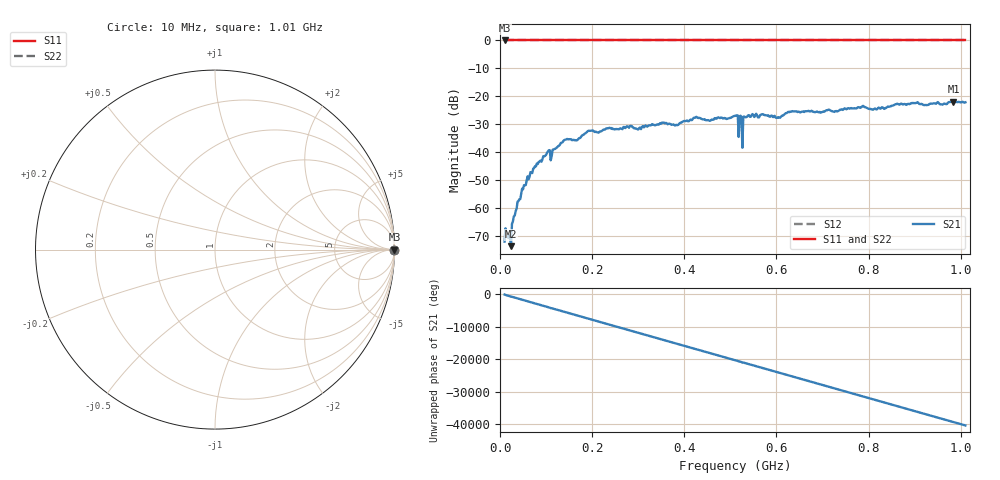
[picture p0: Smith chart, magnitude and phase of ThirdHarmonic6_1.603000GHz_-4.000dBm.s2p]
! 8/16/2025 7:06:44 PM
! C:\ANRITSUVNA\TEMP\TEMP.S2P
! CHANNEL.1
! TR.MEASUREMENT
! RAW.DATA
! RF.CORRECTION.OFF
! AVERAGING.OFF
! IF.BANDWIDTH: 5KHZ
! SWEEPTYPE:  FREQ.SWEEP(Linear)
! Reference Plane Port Info
! PORT:  PORT1  PORT2
! DISTANCE:  0  m  0  m
! TIME:  0  s  0  s
! PHASE.OFFSET:  0  deg.  0  deg.
! LOSS:  0  dB  0  dB
! REF.LOSS:  0  dB  0  dB
! REF.FREQ:  0  Hz  0  Hz
! Power Info
! POWER:  -20  dBm  -20  dBm
! EFF.POWER:  -20  dBm  -20  dBm
! SOURCE.ATTEN:  0  dB  0  dB
! TEST.ATTEN:  0  dB  0  dB
# GHZ S RI R 50.0
! FREQ.GHZ  S11RE  S11IM  S21RE  S21IM  S12RE  S12IM  S22RE  S22IM
!; PortSelection: Port_12
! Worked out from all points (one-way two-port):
!   501 points, 10 MHz to 1.01 GHz, reference 50 ohm
!   highest |S21| = -21.92 dB at 984 MHz (marker M1); lowest = -73.7 dB at 24 MHz (marker M2)
!   lowest |S11| = 0.0 dB at 10 MHz (marker M3)
!   |S11| at or under -10 dB: nowhere
!   |S22| runs from 0.0 to 0.0 dB; largest |S21 - S12| = 1.1
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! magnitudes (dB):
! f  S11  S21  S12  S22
! 10 MHz  0.0  -72.1  0.0  0.0
! 16 MHz  0.0  -70.3  0.0  0.0
! 20 MHz  0.0  -69.7  0.0  0.0
! 24 MHz  0.0  -73.7  0.0  0.0
! 34 MHz  0.0  -61.1  0.0  0.0
! 50 MHz  0.0  -53.3  0.0  0.0
! 76 MHz  0.0  -45.0  0.0  0.0
! 142 MHz  0.0  -35.5  0.0  0.0
! 178 MHz  0.0  -34.0  0.0  0.0
! 196 MHz  0.0  -32.3  0.0  0.0
! 344 MHz  0.0  -30.2  0.0  0.0
! 510 MHz  0.0  -27.0  0.0  0.0
! 520 MHz  0.0  -27.1  0.0  0.0
! 522 MHz  0.0  -26.9  0.0  0.0
! 530 MHz  0.0  -27.2  0.0  0.0
! 532 MHz  0.0  -27.5  0.0  0.0
! 544 MHz  0.0  -27.3  0.0  0.0
! 604 MHz  0.0  -27.5  0.0  0.0
! 678 MHz  0.0  -25.4  0.0  0.0
! 844 MHz  0.0  -23.7  0.0  0.0
! 984 MHz  0.0  -21.9  0.0  0.0
! 1.01 GHz  0.0  -22.1  0.0  0.0
